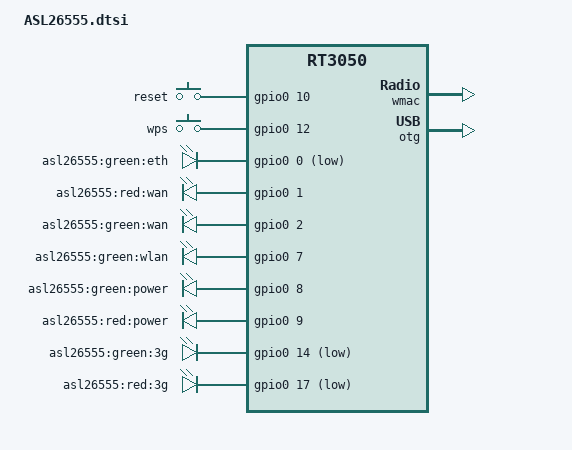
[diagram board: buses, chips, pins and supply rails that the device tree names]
#include "rt3050.dtsi"

#include <dt-bindings/gpio/gpio.h>
#include <dt-bindings/input/input.h>

/ {
	compatible = "alphanetworks,asl26555", "ralink,rt3050-soc";

	aliases {
		led-boot = &led_power_green;
		led-failsafe = &led_power_green;
		led-running = &led_power_green;
		led-upgrade = &led_power_green;
	};

	gpio-keys-polled {
		compatible = "gpio-keys-polled";
		poll-interval = <20>;

		reset {
			label = "reset";
			gpios = <&gpio0 10 GPIO_ACTIVE_HIGH>;
			linux,code = <KEY_RESTART>;
		};

		wps {
			label = "wps";
			gpios = <&gpio0 12 GPIO_ACTIVE_HIGH>;
			linux,code = <KEY_WPS_BUTTON>;
		};
	};

	gpio-leds {
		compatible = "gpio-leds";

		eth {
			label = "asl26555:green:eth";
			gpios = <&gpio0 0 GPIO_ACTIVE_LOW>;
		};

		wan-red {
			label = "asl26555:red:wan";
			gpios = <&gpio0 1 GPIO_ACTIVE_HIGH>;
		};

		wan-green {
			label = "asl26555:green:wan";
			gpios = <&gpio0 2 GPIO_ACTIVE_HIGH>;
		};

		wlan {
			label = "asl26555:green:wlan";
			gpios = <&gpio0 7 GPIO_ACTIVE_HIGH>;
		};

		led_power_green: power-green {
			label = "asl26555:green:power";
			gpios = <&gpio0 8 GPIO_ACTIVE_HIGH>;
		};

		power-red {
			label = "asl26555:red:power";
			gpios = <&gpio0 9 GPIO_ACTIVE_HIGH>;
		};

		3g-green {
			label = "asl26555:green:3g";
			gpios = <&gpio0 14 GPIO_ACTIVE_LOW>;
			trigger-sources = <&otg_port1>;
			linux,default-trigger = "usbport";
		};

		3g-red {
			label = "asl26555:red:3g";
			gpios = <&gpio0 17 GPIO_ACTIVE_LOW>;
		};
	};
};

&gpio0 {
	status = "okay";
};

&pinctrl {
	state_default: pinctrl0 {
		gpio {
			ralink,group = "i2c", "jtag", "rgmii", "mdio", "uartf";
			ralink,function = "gpio";
		};
	};
};

&ethernet {
	mtd-mac-address = <&devdata 0x4004>;
};

&esw {
	mediatek,portmap = <0x1e>;
};

&wmac {
	ralink,mtd-eeprom = <&devdata 0x4000>;
};

&otg {
	status = "okay";
};
